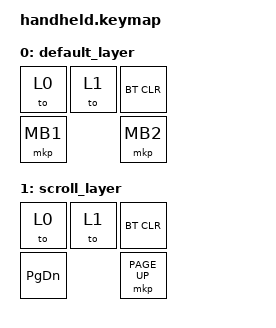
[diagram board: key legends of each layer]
// This file was generated from a template. Edit it to match your keyboard.
// See https://zmk.dev/docs/development/hardware-integration/new-shield for more instructions.

#include <behaviors.dtsi>
#include <dt-bindings/zmk/keys.h>
#include <dt-bindings/zmk/bt.h>
#include <dt-bindings/zmk/pointing.h>
#include <dt-bindings/zmk/mouse.h>

/ {
    // Define a default keymap here.
    // See https://zmk.dev/docs/development/hardware-integration/new-shield#default-keymap.
    keymap {
        compatible = "zmk,keymap";

        default_layer {
            bindings = <
                &to 0 &to 1 &bt BT_CLR
                // &none &none &none
                &mkp MB1  &mkp MB2
            >;
        };

        scroll_layer {
            bindings = <
                &to 0 &to 1 &bt BT_CLR
                // &none &none &none
                &kp PAGE_DOWN  &mkp PAGE_UP
            >;
        };
    };
};
